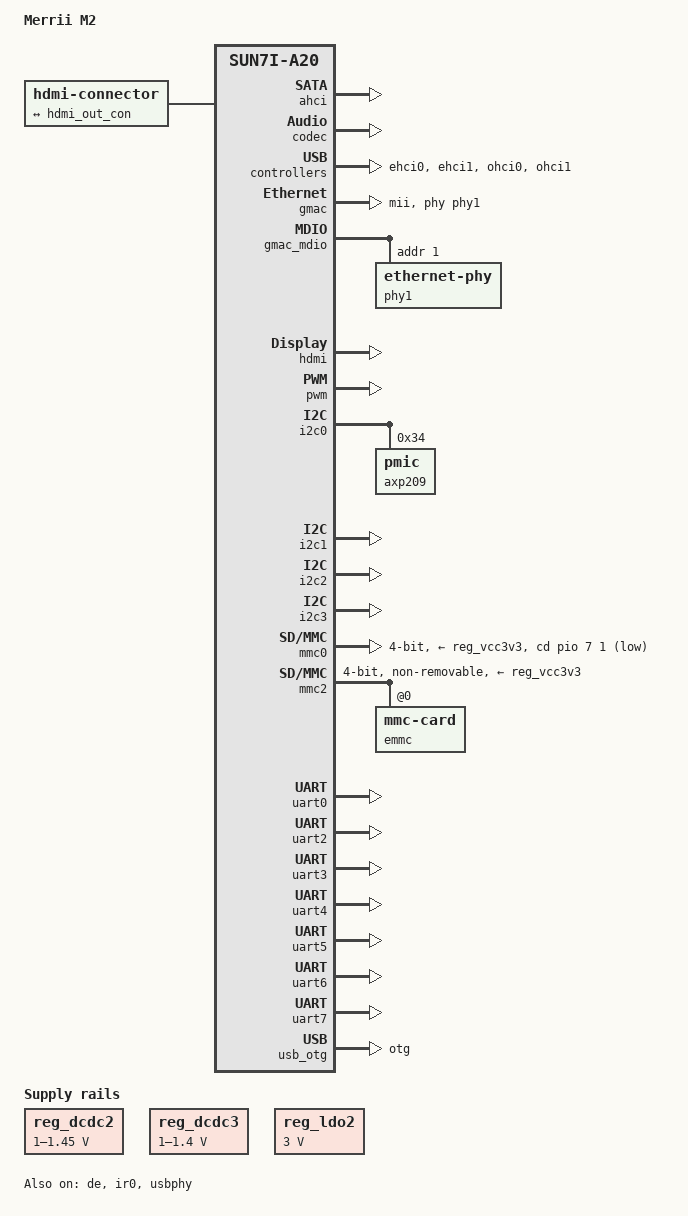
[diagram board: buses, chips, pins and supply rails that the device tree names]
// SPDX-License-Identifier: (GPL-2.0+ OR MIT)

/dts-v1/;

#include "sun7i-a20.dtsi"
#include "sunxi-common-regulators.dtsi"

#include <dt-bindings/gpio/gpio.h>
#include <dt-bindings/interrupt-controller/irq.h>

/ {
	model = "Merrii M2";
	compatible = "merrii,m2", "allwinner,sun7i-a20";

	aliases {
		serial0 = &uart0;
	};

	chosen {
		stdout-path = "serial0:115200n8";
	};

	hdmi-connector {
		compatible = "hdmi-connector";
		type = "a";

		port {
			hdmi_con_in: endpoint {
				remote-endpoint = <&hdmi_out_con>;
			};
		};
	};
};

#if 0
/ {
	spi_gpio: spi-gpio {
		compatible = "spi-gpio";
		#address-cells = <1>;
		#size-cells = <0>;
		cs-gpios = <&pio 8 9 GPIO_ACTIVE_LOW>; /* PI9 */
		sck-gpios = <&pio 8 8 GPIO_ACTIVE_HIGH>; /* PI8 */
		mosi-gpios = <&pio 8 7 GPIO_ACTIVE_HIGH>; /* PI7 */
		miso-gpios = <&pio 8 6 GPIO_ACTIVE_HIGH>; /* PI6 */
		num-chipselects = <1>;
		pinctrl-names = "default";
		pinctrl-0 = <&spi_gpio_pins_out &spi_gpio_pins_in>;

		spidev@0 {
			compatible = "spidev";
			reg = <0>;						// CS编号
			spi-max-frequency = <1000000>;	// 1MHz
		};
	};
};

&pio {
	spi_gpio_pins_out: spi_gpio_pins_out {
		allwinner,pins = "PI7", "PI8", "PI9", "PI5";  // MOSI, SCLK, CS, RESET
		allwinner,function = "gpio_out";
		allwinner,drive = <1>;
		allwinner,pull = <0>;
	};

	spi_gpio_pins_in: spi_gpio_pins_in {
		allwinner,pins = "PI6";  // MISO
		allwinner,function = "gpio_in";
		allwinner,drive = <1>;
		allwinner,pull = <0>;
	};
};
#endif

&cpu0 {
	cpu-supply = <&reg_dcdc2>;
	operating-points = <
	/* kHz	  uV */
	1080000	1450000
	912000	1400000
	864000	1300000
	792000	1250000
	720000	1200000
	624000	1150000
	528000	1100000
	312000	1050000
	>;
};

&cpu1 {
	cpu-supply = <&reg_dcdc2>;
	operating-points = <
	/* kHz	  uV */
	1080000	1450000
	912000	1400000
	864000	1300000
	792000	1250000
	720000	1200000
	624000	1150000
	528000	1100000
	312000	1050000
	>;
};

&ahci {
	target-supply = <&reg_ahci_5v>;
	status = "okay";
};

&de {
	status = "okay";
};

&codec {
	//PAM8620: PH25, Low: enable output, High: disable output
	allwinner,pa-gpios = <&pio 7 25 GPIO_ACTIVE_HIGH>; /* PH25 */
	status = "okay";
};

&ehci0 {
	status = "okay";
};

&ehci1 {
	status = "okay";
};

&otg_sram {
	status = "okay";
};

&gmac {
	pinctrl-names = "default";
	pinctrl-0 = <&gmac_mii_pins>;
	phy-handle = <&phy1>;
	phy-mode = "mii";
	status = "okay";
};

&gmac_mdio {
	phy1: ethernet-phy@1 {
		reg = <1>;
	};
};

&hdmi {
	status = "okay";
};

&hdmi_out {
	hdmi_out_con: endpoint {
		remote-endpoint = <&hdmi_con_in>;
	};
};

// LVDS
&pwm {
	pinctrl-names = "default";
	pinctrl-0 = <&pwm0_pin>; /* PB02 */
	status = "okay";
};

/* I2C
* NO: SCL,	SDA
*  0: PB00, PB01
*  1: PB18, PB19
*  2: PB20, PB21
*  3: PI00, PI01
*  4: PI02, PI03
*/
&i2c0 {
	status = "okay";
/*
	axp209: pmic@34 {
		compatible = "x-powers,axp209";
		reg = <0x34>;
		interrupt-parent = <&nmi_intc>;
		interrupts = <0 IRQ_TYPE_LEVEL_LOW>;

		interrupt-controller;
		#interrupt-cells = <1>;
	};
*/
	axp209: pmic@34 {
		reg = <0x34>;
		interrupt-parent = <&nmi_intc>;
		interrupts = <0 IRQ_TYPE_LEVEL_LOW>;
	};
};

&i2c1 {
	status = "okay";
};

// touch screen
&i2c2 {
	status = "okay";
};

&i2c3 {
	status = "okay";
};

/*
&pio {
	/omit-if-no-ref/
	i2c4_pins: i2c4-pins {
		pins = "PI2", "PI3";
		function = "i2c4";
	};
};

&i2c4 {
	pinctrl-0 = <&i2c4_pins>;
	status = "okay";
};
*/

&ir0 {
	pinctrl-names = "default";
	pinctrl-0 = <&ir0_rx_pin>; /* PB04 */
	status = "okay";
};

// TF
&mmc0 {
	vmmc-supply = <&reg_vcc3v3>;
	bus-width = <4>;
	cd-gpios = <&pio 7 1 GPIO_ACTIVE_LOW>; /* PH1 */
	status = "okay";
};

// EMMC
/*
/ {
	mmc2_pwrseq: mmc2_pwrseq {
		compatible = "mmc-pwrseq-emmc";
		reset-gpios = <&pio 2 16 GPIO_ACTIVE_LOW>;
	};
};
*/
&mmc2 {
	vmmc-supply = <&reg_vcc3v3>;
	vqmmc-supply = <&reg_vcc3v3>;
	bus-width = <4>;
	non-removable;
	// mmc-pwrseq = <&mmc2_pwrseq>;
	status = "okay";

	emmc: emmc@0 {
		reg = <0>;
		compatible = "mmc-card";
		broken-hpi;
	};
};

&ohci0 {
	status = "okay";
};

&ohci1 {
	status = "okay";
};

&reg_ahci_5v {
	gpio = <&pio 7 12 GPIO_ACTIVE_HIGH>; /* PH12 */
	status = "okay";
};

&reg_usb1_vbus {
	status = "okay";
};

&reg_usb2_vbus {
	status = "okay";
};

/* UART
* NO: TX,	RX	, RTS,	CTS
*  0: PB22, PB23
*  1: None
*  2: PI18, PI19
*  3: PG06, PG07, PG08, PG09
*  4: PG10, PG11
*  5: PI10, PI11
*  6: PI12, PI13
*  7: PI20, PI21
*/

// debug
&uart0 {
	pinctrl-names = "default";
	pinctrl-0 = <&uart0_pb_pins>;
	status = "okay";
};

// SP3485E: DI, RO
&uart2 {
	pinctrl-names = "default";
	pinctrl-0 = <&uart2_pi_pins>;
	status = "okay";
};

&uart3 {
	pinctrl-names = "default";
	pinctrl-0 = <&uart3_pg_pins>, <&uart3_cts_rts_pg_pins>;
	status = "okay";
};

&uart4 {
	pinctrl-names = "default";
	pinctrl-0 = <&uart4_pg_pins>;
	status = "okay";
};

// MAX3232: T1, R1
&uart5 {
	pinctrl-names = "default";
	pinctrl-0 = <&uart5_pi_pins>;
	status = "okay";
};

// MAX3232: T2, R2
&uart6{
	pinctrl-names = "default";
	pinctrl-0 = <&uart6_pi_pins>;
	status = "okay";
};

// LTE
&uart7 {
	pinctrl-names = "default";
	pinctrl-0 = <&uart7_pi_pins>;
	status = "okay";
};

&usb_otg {
	dr_mode = "otg";
	status = "okay";
};

// PH02 IRQ_TYPE_LEVEL_LOW / GPIO_ACTIVE_LOW
#include "axp209.dtsi"

&ac_power_supply {
	status = "okay";
};

&reg_dcdc2 {
	regulator-always-on;
	regulator-min-microvolt = <1000000>;
	regulator-max-microvolt = <1450000>;
	regulator-name = "vdd-cpu";
};

&reg_dcdc3 {
	regulator-always-on;
	regulator-min-microvolt = <1000000>;
	regulator-max-microvolt = <1400000>;
	regulator-name = "vdd-int-dll";
};

&reg_ldo1 {
	regulator-name = "vdd-rtc";
};

&reg_ldo2 {
	regulator-always-on;
	regulator-min-microvolt = <3000000>;
	regulator-max-microvolt = <3000000>;
	regulator-name = "avcc";
};

&reg_usb0_vbus {
	status = "okay";
};

&reg_usb1_vbus {
	status = "okay";
};

&reg_usb2_vbus {
	status = "okay";
};

&usb_power_supply {
	status = "okay";
};

&usbphy {
	usb0_id_det-gpios = <&pio 7 4 GPIO_ACTIVE_HIGH>; /* PH04 */
	usb0_vbus_power-supply = <&usb_power_supply>;
	usb0_vbus-supply = <&reg_usb0_vbus>;
	usb1_vbus-supply = <&reg_usb1_vbus>;
	usb2_vbus-supply = <&reg_usb2_vbus>;
	status = "okay";
};

/* GPIO
*  PI05, I/O
*  PI06, I/O
*  PI07, I/O
*  PI08, I/O
*  PI09, I/O
*  PH07, LVDS-BL:O/F
*  PH08, LVDS-DSATA:VCC
*  PH21, RTP/CTP:X-/INT
*  PB13, RTP/CTP:Y+/WAKE
*  PH24, LED
*  PB04, IR
*/
